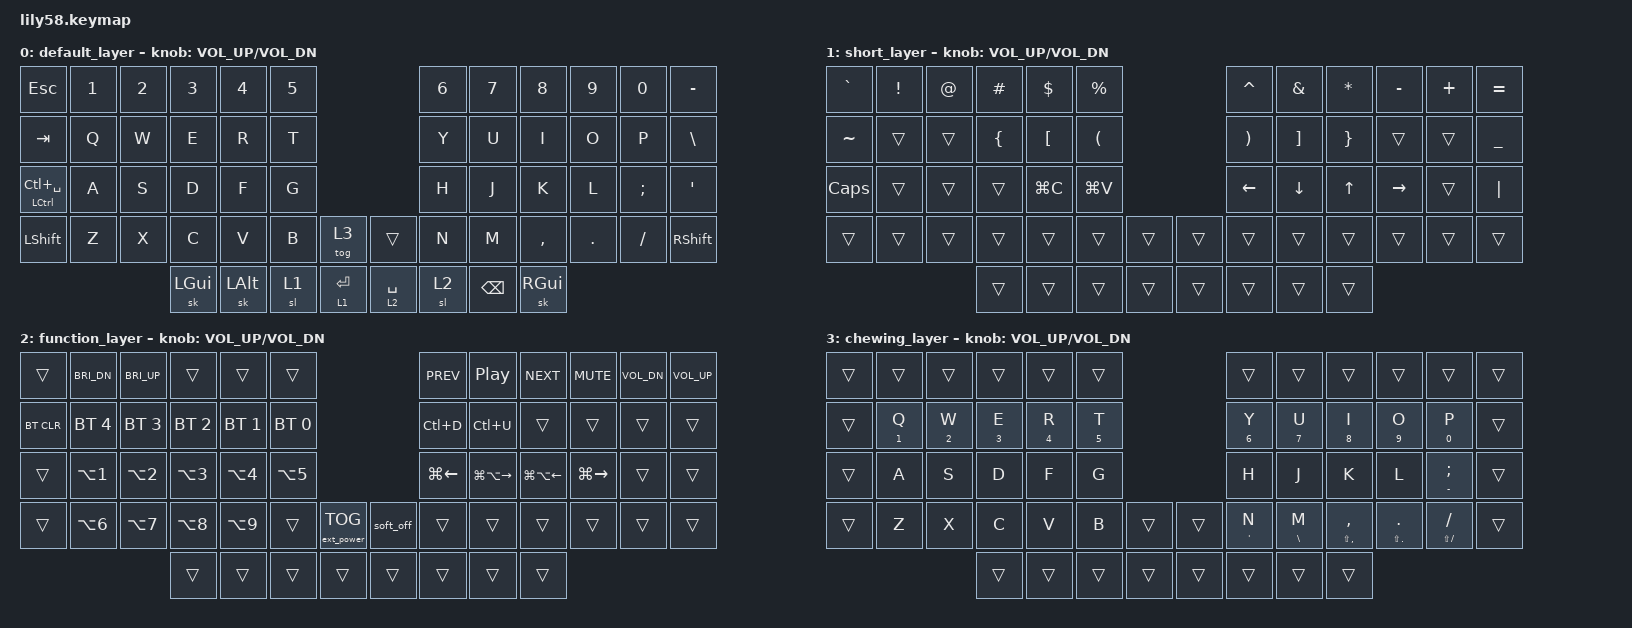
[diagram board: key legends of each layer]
/*
 * Copyright (c) 2020 The ZMK Contributors
 *
 * SPDX-License-Identifier: MIT
 */

#include <behaviors.dtsi>
#include <dt-bindings/zmk/keys.h>
#include <dt-bindings/zmk/bt.h>
#include <dt-bindings/zmk/ext_power.h>
&soft_off {
  hold-time-ms = <2000>; //Only turn off it the key is held for 2 second
  /delete-property/ split-peripheral-off-on-press; // 叫右手不要偷跑立即關機，左右手一起等滿 2 秒
    
};

/ {
    combos {
        compatible = "zmk,combos";
        combo_panic {
            timeout-ms = <50>;
            key-positions = <0 11>;
            bindings = <&to 0>;
        };
    };

    keymap {
        compatible = "zmk,keymap";

        default_layer {
// ---------------------------------------------------------------------------------------------------------------------------
// |  ESC  |  1  |  2  |  3   |  4   |    5    |                          |  6    |  7    |  8    |  9   |   0   |     -     |
// |  TAB  |  Q  |  W  |  E   |  R   |    T    |                          |  Y    |  U    |  I    |  O   |   P   |     \     |
// |  CTRL |  A  |  S  |  D   |  F   |    G    |                          |  H    |  J    |  K    |  L   |   ;   |     '     |
// | SHIFT |  Z  |  X  |  C   |  V   |    B    |  CHEWING  |  |           |  N    |  M    |  ,    |  .   |   /   |   SHIFT   |
//                     | GUI  | ALT  |  NUMBER |  ENTER/1  |  |  SPACE/2  | SHORT | BSPC  | GUI   |

            bindings = <
&kp ESC             &kp N1 &kp N2 &kp N3   &kp N4   &kp N5                       &kp N6 &kp N7   &kp N8    &kp N9  &kp N0   &kp MINUS
&kp TAB             &kp Q  &kp W  &kp E    &kp R    &kp T                        &kp Y  &kp U    &kp I     &kp O   &kp P    &kp BSLH
&mt LCTRL LC(SPACE) &kp A  &kp S  &kp D    &kp F    &kp G                        &kp H  &kp J    &kp K     &kp L   &kp SEMI &kp SQT
&kp LSHFT           &kp Z  &kp X  &kp C    &kp V    &kp B  &tog 3    &trans      &kp N  &kp M    &kp COMMA &kp DOT &kp FSLH &kp RSHFT
                                  &sk LGUI &sk LALT &sl 1  &lt 1 RET &lt 2 SPACE &sl 2  &kp BSPC &sk RGUI
            >;

            sensor-bindings = <&inc_dec_kp C_VOL_UP C_VOL_DN>;
        };

        short_layer {
// -----------------------------------------------------------------------------------------------------
// |  `   |   !  |   @  |   #   |   $  |   %  |              |   ^  |   &  |   *  |   -  |   +  |  =   | 
// |  ~   |      |      |   {   |   [  |   (  |              |   )  |   ]  |   }  |      |      |  _   |
// | CAPS |      |      |       |      |      |              |   <  |   v  |   ^  |   >  |      |  |   |
// |      |      |      |       |      |      |     |  |     |      |      |      |      |      |      |
//                      |       |      |      |     |  |     |      |      |      |
            bindings = <
&kp GRAVE  &kp EXCL &kp AT &kp HASH &kp DOLLAR &kp PRCNT               &kp CARET &kp AMPS &kp STAR &kp MINUS &kp PLUS &kp EQUAL
&kp TILDE  &trans   &trans &kp LBRC &kp LBKT   &kp LPAR                &kp RPAR  &kp RBKT &kp RBRC &trans    &trans   &kp UNDER
&kp CAPS   &trans   &trans &trans   &kp LG(C)  &kp LG(V)               &kp LEFT  &kp DOWN &kp UP   &kp RIGHT &trans   &kp PIPE
&trans     &trans   &trans &trans   &trans     &trans    &trans &trans &trans    &trans   &trans   &trans    &trans   &trans
                           &trans   &trans     &trans    &trans &trans &trans    &trans   &trans
            >;

            sensor-bindings = <&inc_dec_kp C_VOL_UP C_VOL_DN>;
        };

        function_layer {
// ---------------------------------------------------------------------------------------------------------------------------------
// |         | BRI_DN | BRI_UP |       |       |       |                |   PRV   |   P/S    |   NXT    |  MUTE  |  VDOWN  |  VUP  |
// |  BTCLR  |   BT5  |   BT4  |  BT3  |  BT2  |  BT1  |                | NVIM PD | NVIM PU  |          |        |         |       | 
// |         | WIND 1 | WIND 2 | WIN 3 | WIN 4 | WIN 5 |                | FF PRV  |FF TAB PRV|FF TAB NXT| FF NXT |         |       |
// |         | WIND 6 | WIND 7 | WIN 8 | WIN 9 |       |      |  |      |         |          |          |        |         |       |
//                    |        |       |       |       |      |  |      |         |          |
            bindings = <
&trans     &kp C_BRI_DN &kp C_BRI_UP &trans       &trans       &trans                                   &kp C_PREV   &kp C_PP          &kp C_NEXT       &kp K_MUTE    &kp C_VOL_DN &kp C_VOL_UP
&bt BT_CLR &bt BT_SEL 4 &bt BT_SEL 3 &bt BT_SEL 2 &bt BT_SEL 1 &bt BT_SEL 0                             &kp LC(D)    &kp LC(U)         &trans           &trans        &trans       &trans
&trans     &kp LA(N1)   &kp LA(N2)   &kp LA(N3)   &kp LA(N4)   &kp LA(N5)                               &kp LG(LEFT) &kp LG(LA(RIGHT)) &kp LG(LA(LEFT)) &kp LG(RIGHT) &trans       &trans
&trans     &kp LA(N6)   &kp LA(N7)   &kp LA(N8)   &kp LA(N9)   &trans       &ext_power EP_TOG &soft_off &trans       &trans            &trans           &trans        &trans       &trans
                                     &trans       &trans       &trans       &trans            &trans    &trans       &trans            &trans
            >;

            sensor-bindings = <&inc_dec_kp C_VOL_UP C_VOL_DN>;
        };

        chewing_layer {
// ---------------------------------------------------------------------------------------------------------------------------
// |  ESC  |  1  |  2  |  3   |  4   |    5    |                          |  6    |  7    |  8    |  9   |   0   |     -     |
// |  TAB  |  Q  |  W  |  E   |  R   |    T    |                          |  Y    |  U    |  I    |  O   |   P   |     \     |
// |  CTRL |  A  |  S  |  D   |  F   |    G    |                          |  H    |  J    |  K    |  L   |   ;   |     '     |
// | SHIFT |  Z  |  X  |  C   |  V   |    B    |           |  |           |  N    |  M    |  ,    |  .   |   /   |   SHIFT   |
//                     | GUI  | ALT  |  NUMBER |  ENTER/1  |  |  SPACE/2  | SHORT | BSPC  | GUI   |

            bindings = <
&trans &trans   &trans   &trans   &trans   &trans                 &trans    &trans     &trans              &trans          &trans            &trans
&trans &mt N1 Q &mt N2 W &mt N3 E &mt N4 R &mt N5 T               &mt N6 Y  &mt N7 U   &mt N8 I            &mt N9 O        &mt N0 P          &trans
&trans &kp A    &kp S    &kp D    &kp F    &kp G                  &kp H     &kp J      &kp K               &kp L           &mt MINUS SEMI    &trans
&trans &kp Z    &kp X    &kp C    &kp V    &kp B    &trans &trans &mt SQT N &mt BSLH M &mt LS(COMMA) COMMA &mt LS(DOT) DOT &mt LS(FSLH) FSLH &trans
                         &trans   &trans   &trans   &trans &trans &trans    &trans     &trans
            >;

            sensor-bindings = <&inc_dec_kp C_VOL_UP C_VOL_DN>;
        };
    };
};
